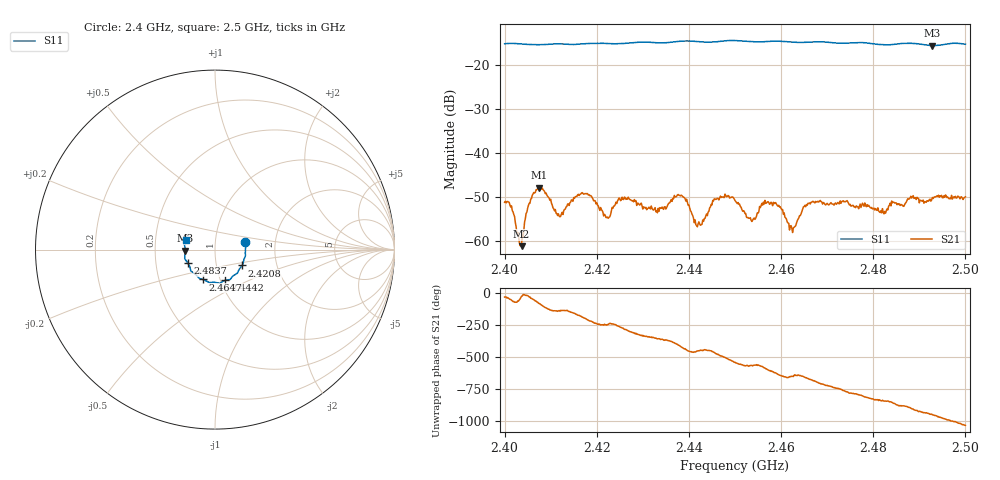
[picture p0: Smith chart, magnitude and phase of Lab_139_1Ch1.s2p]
# Hz S RI R 50
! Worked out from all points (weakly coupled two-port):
!   601 points, 2.4 GHz to 2.5 GHz, reference 50 ohm
!   highest |S21| = -47.94 dB at 2.4075 GHz (marker M1); lowest = -61.2 dB at 2.4037 GHz (marker M2)
!   lowest |S11| = -15.6 dB at 2.4928 GHz (marker M3), VSWR 1.40, Z = 35.8 - j0.382 ohm
!   |S11| at or under -10 dB: start of sweep to end of sweep
!   S12 and S22 are empty: the file has one direction only
!   S11 on the Smith chart (normalised r, x): 2.4 GHz: 1.40, +0.12; 2.4208 GHz: 1.33, -0.24; 2.4442 GHz: 1.05, -0.37; 2.4647 GHz: 0.83, -0.29; 2.4837 GHz: 0.73, -0.11; 2.5 GHz: 0.72, +0.08
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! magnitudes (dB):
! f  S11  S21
! 2.4 GHz  -15.2  -51.2
! 2.4037 GHz  -15.3  -61.2
! 2.4055 GHz  -15.4  -51.5
! 2.4075 GHz  -15.4  -47.9
! 2.4118 GHz  -15.2  -54.4
! 2.4167 GHz  -15.3  -49.2
! 2.4208 GHz  -15.1  -52.4
! 2.4265 GHz  -15.1  -50.4
! 2.4333 GHz  -15.0  -52.6
! 2.438 GHz  -14.7  -49.7
! 2.442 GHz  -14.8  -56.1
! 2.4442 GHz  -14.9  -53.5
! 2.45 GHz  -14.5  -50.8
! 2.4535 GHz  -14.7  -55.3
! 2.4588 GHz  -14.6  -51.3
! 2.4623 GHz  -14.8  -57.2
! 2.4647 GHz  -14.9  -52.9
! 2.4667 GHz  -14.8  -51.2
! 2.4833 GHz  -15.5  -52.1
! 2.4837 GHz  -15.4  -51.4
! 2.4928 GHz  -15.6  -50.2
! 2.5 GHz  -15.3  -50.0
